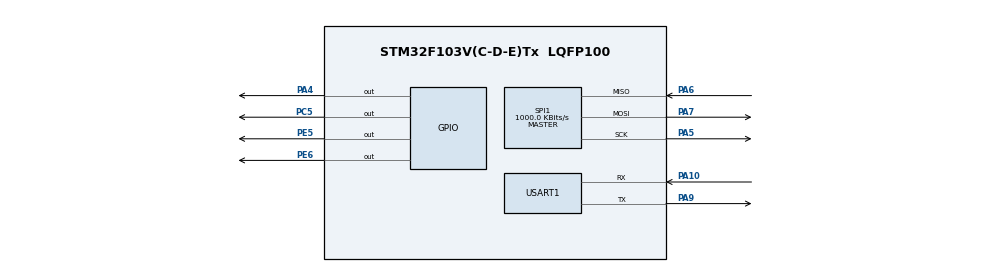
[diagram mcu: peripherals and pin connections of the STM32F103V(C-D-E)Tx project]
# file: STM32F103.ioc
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Mcu.Family=STM32F1
Mcu.Name=STM32F103V(C-D-E)Tx
Mcu.Package=LQFP100
NVIC.PriorityGroup=NVIC_PRIORITYGROUP_4
NVIC.SPI1_IRQn=true\:0\:0\:false\:false\:true\:true\:true\:true
NVIC.USART1_IRQn=true\:1\:0\:true\:false\:true\:true\:true\:true
OSC_IN.Mode=HSE-External-Oscillator
OSC_IN.Signal=RCC_OSC_IN
OSC_OUT.Mode=HSE-External-Oscillator
OSC_OUT.Signal=RCC_OSC_OUT
PA10.GPIO_Mode=GPIO_MODE_INPUT
PA10.GPIO_PuPd=GPIO_NOPULL
PA10.Mode=Asynchronous
PA10.Signal=USART1_RX
PA13.Mode=Serial_Wire
PA13.Signal=SYS_JTMS-SWDIO
PA14.Mode=Serial_Wire
PA14.Signal=SYS_JTCK-SWCLK
PA4.Signal=GPIO_Output
PA5.GPIO_Mode=GPIO_MODE_AF_PP
PA5.GPIO_Speed=GPIO_SPEED_FREQ_HIGH
PA5.Mode=Full_Duplex_Master
PA5.Signal=SPI1_SCK
PA6.GPIO_Mode=GPIO_MODE_INPUT
PA6.GPIO_PuPd=GPIO_PULLUP
PA6.Mode=Full_Duplex_Master
PA6.Signal=SPI1_MISO
PA7.GPIO_Speed=GPIO_SPEED_FREQ_HIGH
PA7.Mode=Full_Duplex_Master
PA7.Signal=SPI1_MOSI
PA9.GPIO_Mode=GPIO_MODE_AF_PP
PA9.GPIO_Speed=GPIO_SPEED_FREQ_HIGH
PA9.Mode=Asynchronous
PA9.Signal=USART1_TX
PC14-OSC32_IN.Mode=LSE-External-Oscillator
PC14-OSC32_IN.Signal=RCC_OSC32_IN
PC15-OSC32_OUT.Mode=LSE-External-Oscillator
PC15-OSC32_OUT.Signal=RCC_OSC32_OUT
PC5.GPIO_ModeDefaultOutputPP=GPIO_MODE_OUTPUT_PP
PC5.GPIO_PuPd=GPIO_NOPULL
PC5.PinState=GPIO_PIN_RESET
PC5.Signal=GPIO_Output
PE5.GPIO_ModeDefaultOutputPP=GPIO_MODE_OUTPUT_PP
PE5.GPIO_PuPd=GPIO_PULLUP
PE5.GPIO_Speed=GPIO_SPEED_FREQ_LOW
PE5.PinState=GPIO_PIN_SET
PE5.Signal=GPIO_Output
PE6.GPIO_ModeDefaultOutputPP=GPIO_MODE_OUTPUT_PP
PE6.GPIO_PuPd=GPIO_PULLUP
PE6.GPIO_Speed=GPIO_SPEED_FREQ_LOW
PE6.PinState=GPIO_PIN_SET
PE6.Signal=GPIO_Output
ProjectManager.HeapSize=0x200
ProjectManager.StackSize=0x400
ProjectManager.TargetToolchain=MDK-ARM V5.27
RCC.APB1Freq_Value=8000000
RCC.APB2Freq_Value=8000000
SPI1.BaudRatePrescaler=SPI_BAUDRATEPRESCALER_8
SPI1.CalculateBaudRate=1000.0 KBits/s
SPI1.Direction=SPI_DIRECTION_2LINES
SPI1.Mode=SPI_MODE_MASTER
SPI1.VirtualType=VM_MASTER
USART1.VirtualMode=VM_ASYNC
board=custom

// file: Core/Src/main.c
/* USER CODE BEGIN Header */
/**
  ******************************************************************************
  * @file           : main.c
  * @brief          : Main program body
  ******************************************************************************
  * @attention
  *
  * Copyright (c) 2022 STMicroelectronics.
  * All rights reserved.
  *
  * This software is licensed under terms that can be found in the LICENSE file
  * in the root directory of this software component.
  * If no LICENSE file comes with this software, it is provided AS-IS.
  *
  ******************************************************************************
  */
/* USER CODE END Header */
#include "main.h"

/* USER CODE BEGIN Includes */
#include	"stm32f1xx_hal.h"
#include	"xmodem.h"
#include	"flash.h"
#include	"stdio.h"
#include	"string.h"
#include	"Flash_External.h"
/* USER CODE END Includes */

SPI_HandleTypeDef hspi1;

UART_HandleTypeDef huart1;

void SystemClock_Config(void);
static void MX_GPIO_Init(void);
static void MX_SPI1_Init(void);
static void MX_USART1_UART_Init(void);
/* USER CODE BEGIN PFP */
extern Buffer_TypeDef					UART1_Data;
extern ConfStructure              Config;

/* USER CODE END PFP */

/* USER CODE BEGIN 0 */
void mem_set(void* dst, int val, int cnt)
{
	char *d = (char*)dst;
	while (cnt--) *d++ = (char)val;
}

/* USER CODE END 0 */

int main(void)
{

  /* MCU Configuration--------------------------------------------------------*/

  /* Reset of all peripherals, Initializes the Flash interface and the Systick. */
  HAL_Init();

  /* Configure the system clock */
  SystemClock_Config();

  /* Initialize all configured peripherals */
  MX_GPIO_Init();
  MX_SPI1_Init();
  MX_USART1_UART_Init();
  /* USER CODE BEGIN 2 */
	uart_transmit_str((uint8_t*)"\n\r================================\n\r");
	uart_transmit_str((uint8_t*)"Please send a new binary file with Xmodem protocol to update the firmware.\n\r");
	Erase_Sector();
	xmodem_receive();
  /* USER CODE END 2 */
  /* Infinite loop */
  while (1)
  {

    /* USER CODE BEGIN 3 */
		if(Config.NewData1 == 1)
		{
			Config.NewData1 = 0;
			Config_Process();
			UART1_Data.Count=0;
			memset(Config.TxBuffer,0,1300);
			memset(Config.RxBuffer,0,1300);
  }
	}
  /* USER CODE END 3 */
}

void SystemClock_Config(void)
{
  RCC_OscInitTypeDef RCC_OscInitStruct = {0};
  RCC_ClkInitTypeDef RCC_ClkInitStruct = {0};

  /** Initializes the RCC Oscillators according to the specified parameters
  * in the RCC_OscInitTypeDef structure.
  */
  RCC_OscInitStruct.OscillatorType = RCC_OSCILLATORTYPE_HSI;
  RCC_OscInitStruct.HSIState = RCC_HSI_ON;
  RCC_OscInitStruct.HSICalibrationValue = RCC_HSICALIBRATION_DEFAULT;
  RCC_OscInitStruct.PLL.PLLState = RCC_PLL_NONE;
  if (HAL_RCC_OscConfig(&RCC_OscInitStruct) != HAL_OK)
  {
    Error_Handler();
  }

  /** Initializes the CPU, AHB and APB buses clocks
  */
  RCC_ClkInitStruct.ClockType = RCC_CLOCKTYPE_HCLK|RCC_CLOCKTYPE_SYSCLK
                              |RCC_CLOCKTYPE_PCLK1|RCC_CLOCKTYPE_PCLK2;
  RCC_ClkInitStruct.SYSCLKSource = RCC_SYSCLKSOURCE_HSI;
  RCC_ClkInitStruct.AHBCLKDivider = RCC_SYSCLK_DIV1;
  RCC_ClkInitStruct.APB1CLKDivider = RCC_HCLK_DIV1;
  RCC_ClkInitStruct.APB2CLKDivider = RCC_HCLK_DIV1;

  if (HAL_RCC_ClockConfig(&RCC_ClkInitStruct, FLASH_LATENCY_0) != HAL_OK)
  {
    Error_Handler();
  }
}

static void MX_SPI1_Init(void)
{

  /* SPI1 parameter configuration*/
  hspi1.Instance = SPI1;
  hspi1.Init.Mode = SPI_MODE_MASTER;
  hspi1.Init.Direction = SPI_DIRECTION_2LINES;
  hspi1.Init.DataSize = SPI_DATASIZE_8BIT;
  hspi1.Init.CLKPolarity = SPI_POLARITY_LOW;
  hspi1.Init.CLKPhase = SPI_PHASE_1EDGE;
  hspi1.Init.NSS = SPI_NSS_SOFT;
  hspi1.Init.BaudRatePrescaler = SPI_BAUDRATEPRESCALER_8;
  hspi1.Init.FirstBit = SPI_FIRSTBIT_MSB;
  hspi1.Init.TIMode = SPI_TIMODE_DISABLE;
  hspi1.Init.CRCCalculation = SPI_CRCCALCULATION_DISABLE;
  hspi1.Init.CRCPolynomial = 10;
  if (HAL_SPI_Init(&hspi1) != HAL_OK)
  {
    Error_Handler();
  }

}

static void MX_USART1_UART_Init(void)
{

  huart1.Instance = USART1;
  huart1.Init.BaudRate = 115200;
  huart1.Init.WordLength = UART_WORDLENGTH_8B;
  huart1.Init.StopBits = UART_STOPBITS_1;
  huart1.Init.Parity = UART_PARITY_NONE;
  huart1.Init.Mode = UART_MODE_TX_RX;
  huart1.Init.HwFlowCtl = UART_HWCONTROL_NONE;
  huart1.Init.OverSampling = UART_OVERSAMPLING_16;
  if (HAL_UART_Init(&huart1) != HAL_OK)
  {
    Error_Handler();
  }
  /* USER CODE BEGIN USART1_Init 2 */
	USART1->CR1 |=(1<<5U);
  /* USER CODE END USART1_Init 2 */

}

static void MX_GPIO_Init(void)
{
  GPIO_InitTypeDef GPIO_InitStruct = {0};

  /* GPIO Ports Clock Enable */
  __HAL_RCC_GPIOE_CLK_ENABLE();
  __HAL_RCC_GPIOC_CLK_ENABLE();
  __HAL_RCC_GPIOA_CLK_ENABLE();

  /*Configure GPIO pin Output Level */
  HAL_GPIO_WritePin(GPIOE, GPIO_PIN_5|GPIO_PIN_6, GPIO_PIN_SET);

  /*Configure GPIO pin Output Level */
  HAL_GPIO_WritePin(GPIOA, GPIO_PIN_4, GPIO_PIN_RESET);

  /*Configure GPIO pin Output Level */
  HAL_GPIO_WritePin(GPIOC, GPIO_PIN_5, GPIO_PIN_RESET);

  /*Configure GPIO pins : PE5 PE6 */
  GPIO_InitStruct.Pin = GPIO_PIN_5|GPIO_PIN_6;
  GPIO_InitStruct.Mode = GPIO_MODE_OUTPUT_PP;
  GPIO_InitStruct.Pull = GPIO_PULLUP;
  GPIO_InitStruct.Speed = GPIO_SPEED_FREQ_LOW;
  HAL_GPIO_Init(GPIOE, &GPIO_InitStruct);

  /*Configure GPIO pin : PA4 */
  GPIO_InitStruct.Pin = GPIO_PIN_4;
  GPIO_InitStruct.Mode = GPIO_MODE_OUTPUT_PP;
  GPIO_InitStruct.Pull = GPIO_NOPULL;
  GPIO_InitStruct.Speed = GPIO_SPEED_FREQ_LOW;
  HAL_GPIO_Init(GPIOA, &GPIO_InitStruct);

  /*Configure GPIO pin : PC5 */
  GPIO_InitStruct.Pin = GPIO_PIN_5;
  GPIO_InitStruct.Mode = GPIO_MODE_OUTPUT_PP;
  GPIO_InitStruct.Pull = GPIO_NOPULL;
  GPIO_InitStruct.Speed = GPIO_SPEED_FREQ_LOW;
  HAL_GPIO_Init(GPIOC, &GPIO_InitStruct);

}

void Error_Handler(void)
{
  __disable_irq();
  while (1)
  {
  }
}
